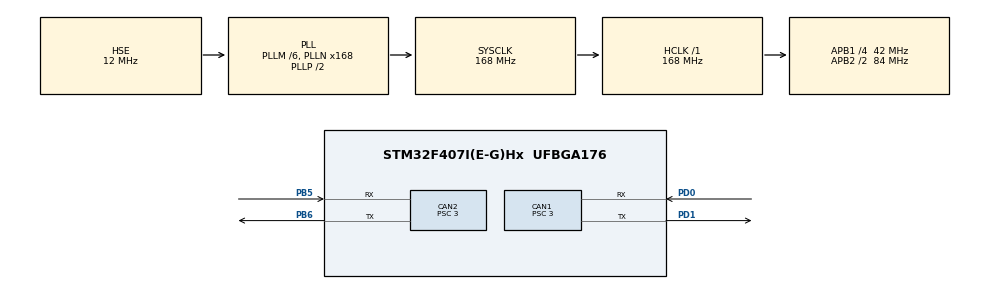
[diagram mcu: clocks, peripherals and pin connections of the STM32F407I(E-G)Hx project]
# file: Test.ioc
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CAN1.BS1=CAN_BS1_10TQ
CAN1.BS2=CAN_BS2_3TQ
CAN1.CalculateBaudRate=1000000
CAN1.CalculateTimeBit=1000
CAN1.CalculateTimeQuantum=71.42857142857143
CAN1.Prescaler=3
CAN2.BS1=CAN_BS1_10TQ
CAN2.BS2=CAN_BS2_3TQ
CAN2.CalculateBaudRate=1000000
CAN2.CalculateTimeBit=1000
CAN2.CalculateTimeQuantum=71.42857142857143
CAN2.Prescaler=3
Mcu.Family=STM32F4
Mcu.Name=STM32F407I(E-G)Hx
Mcu.Package=UFBGA176
NVIC.CAN1_RX0_IRQn=true\:0\:0\:false\:false\:true\:true\:true\:true
NVIC.CAN1_RX1_IRQn=true\:0\:0\:false\:false\:true\:true\:true\:true
NVIC.CAN1_TX_IRQn=true\:0\:0\:false\:false\:true\:true\:true\:true
NVIC.CAN2_RX0_IRQn=true\:0\:0\:false\:false\:true\:true\:true\:true
NVIC.CAN2_RX1_IRQn=true\:0\:0\:false\:false\:true\:true\:true\:true
NVIC.CAN2_TX_IRQn=true\:0\:0\:false\:false\:true\:true\:true\:true
NVIC.PriorityGroup=NVIC_PRIORITYGROUP_4
NVIC.TIM1_UP_TIM10_IRQn=true\:0\:0\:false\:false\:true\:true\:true\:true
NVIC.TIM3_IRQn=true\:0\:0\:false\:false\:true\:true\:true\:true
PA13.Mode=Serial_Wire
PA13.Signal=SYS_JTMS-SWDIO
PA14.Mode=Serial_Wire
PA14.Signal=SYS_JTCK-SWCLK
PB5.Mode=CAN_Activate
PB5.Signal=CAN2_RX
PB6.Mode=CAN_Activate
PB6.Signal=CAN2_TX
PD0.Mode=CAN_Activate
PD0.Signal=CAN1_RX
PD1.Mode=CAN_Activate
PD1.Signal=CAN1_TX
PH0-OSC_IN.Mode=HSE-External-Oscillator
PH0-OSC_IN.Signal=RCC_OSC_IN
PH1-OSC_OUT.Mode=HSE-External-Oscillator
PH1-OSC_OUT.Signal=RCC_OSC_OUT
ProjectManager.HeapSize=0x200
ProjectManager.StackSize=0x400
ProjectManager.TargetToolchain=MDK-ARM V5.32
RCC.48MHZClocksFreq_Value=84000000
RCC.AHBFreq_Value=168000000
RCC.APB1CLKDivider=RCC_HCLK_DIV4
RCC.APB1Freq_Value=42000000
RCC.APB1TimFreq_Value=84000000
RCC.APB2CLKDivider=RCC_HCLK_DIV2
RCC.APB2Freq_Value=84000000
RCC.APB2TimFreq_Value=168000000
RCC.CortexFreq_Value=168000000
RCC.HCLKFreq_Value=168000000
RCC.HSE_VALUE=12000000
RCC.HSI_VALUE=16000000
RCC.LSE_VALUE=32768
RCC.PLLM=6
RCC.PLLN=168
RCC.PLLSourceVirtual=RCC_PLLSOURCE_HSE
RCC.SYSCLKFreq_VALUE=168000000
RCC.SYSCLKSource=RCC_SYSCLKSOURCE_PLLCLK
RCC.VCOOutputFreq_Value=336000000
TIM1.Period=999
TIM1.Prescaler=167
TIM3.Period=999
TIM3.Prescaler=167
VP_TIM1_VS_ClockSourceINT.Mode=Internal
VP_TIM3_VS_ClockSourceINT.Mode=Internal
board=custom

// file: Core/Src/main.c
/* USER CODE BEGIN Header */
/**
 ******************************************************************************
 * @file           : main.c
 * @brief          : Main program body
 ******************************************************************************
 * @attention
 *
 * Copyright (c) 2025 STMicroelectronics.
 * All rights reserved.
 *
 * This software is licensed under terms that can be found in the LICENSE file
 * in the root directory of this software component.
 * If no LICENSE file comes with this software, it is provided AS-IS.
 *
 ******************************************************************************
 */
/* USER CODE END Header */
#include "main.h"
#include "can.h"
#include "tim.h"
#include "gpio.h"

/* USER CODE BEGIN Includes */
#include "bsp_can.h"
#include "CAN_receive.h"
#include "CAN_send.h"
/* USER CODE END Includes */

/* USER CODE BEGIN PD */
float Pos_PID_P = 25.0f;
float Pos_PID_I = 0.0f;
float Pos_PID_D = 0.0f;

float Speed_PID_P = 5.0f;
float Speed_PID_I = 10.0f;
float Speed_PID_D = 0.0f;

float Set_pos = 10.0f;

/* USER CODE END PD */

/* USER CODE BEGIN PV */
Motor MOTOR_M2006;
Motor MOTOR_GM6020;
Motor MOTOR_M3508;
Motor MOTOR_J4310;
/* USER CODE END PV */

void SystemClock_Config(void);
/* USER CODE BEGIN PFP */
void Motor_PID_init(Motor *MOTOR)
{
  MOTOR->motor_pos_pid.P = 0.0f; //
  MOTOR->motor_pos_pid.I = 0.0f;
  MOTOR->motor_pos_pid.D = 0.0f; //
  MOTOR->motor_pos_pid.IMax = 0.0f;

  MOTOR->motor_speed_pid.P = 0.0f; //
  MOTOR->motor_speed_pid.I = 0.0f; //
  MOTOR->motor_speed_pid.D = 0.0f;
  MOTOR->motor_speed_pid.IMax = 0.0f;
}

float a;
void HAL_TIM_PeriodElapsedCallback(TIM_HandleTypeDef *htim)
{
  a = MotorPIDcal(&MOTOR_M3508);
  CAN_Motor_Send1(a);
}
/* USER CODE END PFP */

int main(void)
{

  /* MCU Configuration--------------------------------------------------------*/

  /* Reset of all peripherals, Initializes the Flash interface and the Systick. */
  HAL_Init();

  /* Configure the system clock */
  SystemClock_Config();

  /* Initialize all configured peripherals */
  MX_GPIO_Init();
  MX_CAN1_Init();
  MX_CAN2_Init();
  MX_TIM1_Init();
  MX_TIM3_Init();
  /* USER CODE BEGIN 2 */
  HAL_TIM_Base_Start_IT(&htim1);
  can_filter_init();
  Motor_PID_init(&MOTOR_J4310);
  /* USER CODE END 2 */

  /* Infinite loop */
  while (1)
  {

  }
}

void SystemClock_Config(void)
{
  RCC_OscInitTypeDef RCC_OscInitStruct = {0};
  RCC_ClkInitTypeDef RCC_ClkInitStruct = {0};

  /** Configure the main internal regulator output voltage
   */
  __HAL_RCC_PWR_CLK_ENABLE();
  __HAL_PWR_VOLTAGESCALING_CONFIG(PWR_REGULATOR_VOLTAGE_SCALE1);

  /** Initializes the RCC Oscillators according to the specified parameters
   * in the RCC_OscInitTypeDef structure.
   */
  RCC_OscInitStruct.OscillatorType = RCC_OSCILLATORTYPE_HSE;
  RCC_OscInitStruct.HSEState = RCC_HSE_ON;
  RCC_OscInitStruct.PLL.PLLState = RCC_PLL_ON;
  RCC_OscInitStruct.PLL.PLLSource = RCC_PLLSOURCE_HSE;
  RCC_OscInitStruct.PLL.PLLM = 6;
  RCC_OscInitStruct.PLL.PLLN = 168;
  RCC_OscInitStruct.PLL.PLLP = RCC_PLLP_DIV2;
  RCC_OscInitStruct.PLL.PLLQ = 4;
  if (HAL_RCC_OscConfig(&RCC_OscInitStruct) != HAL_OK)
  {
    Error_Handler();
  }

  /** Initializes the CPU, AHB and APB buses clocks
   */
  RCC_ClkInitStruct.ClockType = RCC_CLOCKTYPE_HCLK | RCC_CLOCKTYPE_SYSCLK | RCC_CLOCKTYPE_PCLK1 | RCC_CLOCKTYPE_PCLK2;
  RCC_ClkInitStruct.SYSCLKSource = RCC_SYSCLKSOURCE_PLLCLK;
  RCC_ClkInitStruct.AHBCLKDivider = RCC_SYSCLK_DIV1;
  RCC_ClkInitStruct.APB1CLKDivider = RCC_HCLK_DIV4;
  RCC_ClkInitStruct.APB2CLKDivider = RCC_HCLK_DIV2;

  if (HAL_RCC_ClockConfig(&RCC_ClkInitStruct, FLASH_LATENCY_5) != HAL_OK)
  {
    Error_Handler();
  }
}

void Error_Handler(void)
{
  __disable_irq();
  while (1)
  {
  }
}
